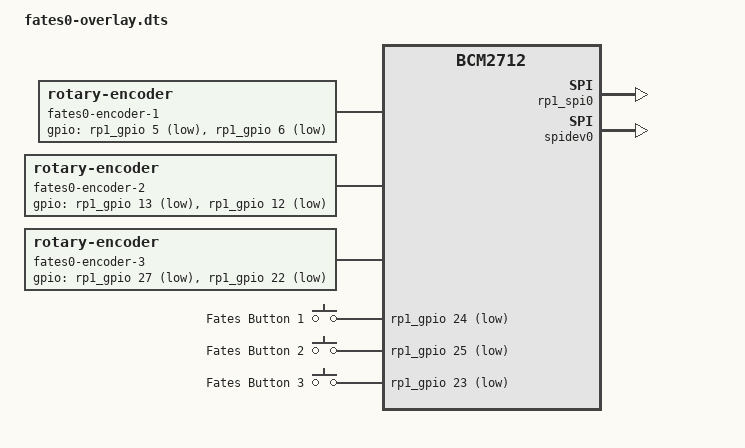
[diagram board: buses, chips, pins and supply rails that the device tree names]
/*
 * Original FATES0 overlay for Raspberry Pi 5 / BCM2712 and RP1.
 *
 * Public Fates v1.8.1 hardware facts establish the GPIO assignments. No source from
 * the unlicensed Fates repository is copied or adapted. Audio is deliberately absent:
 * the distribution's official proto-codec overlay owns WM8731/I2S/I2C audio.
 */

/dts-v1/;
/plugin/;

/ {
	compatible = "brcm,bcm2712";

	fragment@0 {
		target = <&rp1_gpio>;
		__overlay__ {
			fates0_encoder_1_pins: fates0-encoder-1-pins {
				brcm,pins = <5 6>;
				brcm,function = <0>;
				brcm,pull = <2>;
			};
			fates0_encoder_2_pins: fates0-encoder-2-pins {
				brcm,pins = <13 12>;
				brcm,function = <0>;
				brcm,pull = <2>;
			};
			fates0_encoder_3_pins: fates0-encoder-3-pins {
				brcm,pins = <27 22>;
				brcm,function = <0>;
				brcm,pull = <2>;
			};
			fates0_encoder_4_pins: fates0-encoder-4-pins {
				brcm,pins = <26 16>;
				brcm,function = <0>;
				brcm,pull = <2>;
			};
			fates0_button_1_pin: fates0-button-1-pin {
				brcm,pins = <24>;
				brcm,function = <0>;
				brcm,pull = <2>;
			};
			fates0_button_2_pin: fates0-button-2-pin {
				brcm,pins = <25>;
				brcm,function = <0>;
				brcm,pull = <2>;
			};
			fates0_button_3_pin: fates0-button-3-pin {
				brcm,pins = <23>;
				brcm,function = <0>;
				brcm,pull = <2>;
			};
		};
	};

	fragment@1 {
		target-path = "/";
		__overlay__ {
			fates0-encoder-1 {
				compatible = "rotary-encoder";
				pinctrl-names = "default";
				pinctrl-0 = <&fates0_encoder_1_pins>;
				gpios = <&rp1_gpio 5 1>, <&rp1_gpio 6 1>;
				linux,axis = <0>;
				rotary-encoder,relative-axis;
				rotary-encoder,steps-per-period = <2>;
			};

			fates0-encoder-2 {
				compatible = "rotary-encoder";
				pinctrl-names = "default";
				pinctrl-0 = <&fates0_encoder_2_pins>;
				gpios = <&rp1_gpio 13 1>, <&rp1_gpio 12 1>;
				linux,axis = <0>;
				rotary-encoder,relative-axis;
				rotary-encoder,steps-per-period = <2>;
			};

			fates0-encoder-3 {
				compatible = "rotary-encoder";
				pinctrl-names = "default";
				pinctrl-0 = <&fates0_encoder_3_pins>;
				gpios = <&rp1_gpio 27 1>, <&rp1_gpio 22 1>;
				linux,axis = <0>;
				rotary-encoder,relative-axis;
				rotary-encoder,steps-per-period = <2>;
			};

			fates0_encoder_4: fates0-encoder-4 {
				compatible = "rotary-encoder";
				pinctrl-names = "default";
				pinctrl-0 = <&fates0_encoder_4_pins>;
				gpios = <&rp1_gpio 26 1>, <&rp1_gpio 16 1>;
				linux,axis = <0>;
				rotary-encoder,relative-axis;
				rotary-encoder,steps-per-period = <2>;
				status = "disabled";
			};

			fates0-button-1 {
				compatible = "gpio-keys";
				label = "Fates Button 1";
				pinctrl-names = "default";
				pinctrl-0 = <&fates0_button_1_pin>;
				button { label = "Fates Button 1"; linux,code = <256>; gpios = <&rp1_gpio 24 1>; debounce-interval = <5>; };
			};

			fates0-button-2 {
				compatible = "gpio-keys";
				label = "Fates Button 2";
				pinctrl-names = "default";
				pinctrl-0 = <&fates0_button_2_pin>;
				button { label = "Fates Button 2"; linux,code = <257>; gpios = <&rp1_gpio 25 1>; debounce-interval = <5>; };
			};

			fates0-button-3 {
				compatible = "gpio-keys";
				label = "Fates Button 3";
				pinctrl-names = "default";
				pinctrl-0 = <&fates0_button_3_pin>;
				button { label = "Fates Button 3"; linux,code = <258>; gpios = <&rp1_gpio 23 1>; debounce-interval = <5>; };
			};
		};
	};

	fragment@2 {
		target = <&rp1_spi0>;
		__overlay__ { status = "okay"; };
	};

	fragment@3 {
		target = <&spidev0>;
		__overlay__ {
			status = "okay";
			spi-max-frequency = <16000000>;
		};
	};

	fragment@4 {
		target = <&spidev1>;
		__overlay__ { status = "disabled"; };
	};

	__overrides__ {
		encoder4 = <&fates0_encoder_4>,"status";
	};
};
